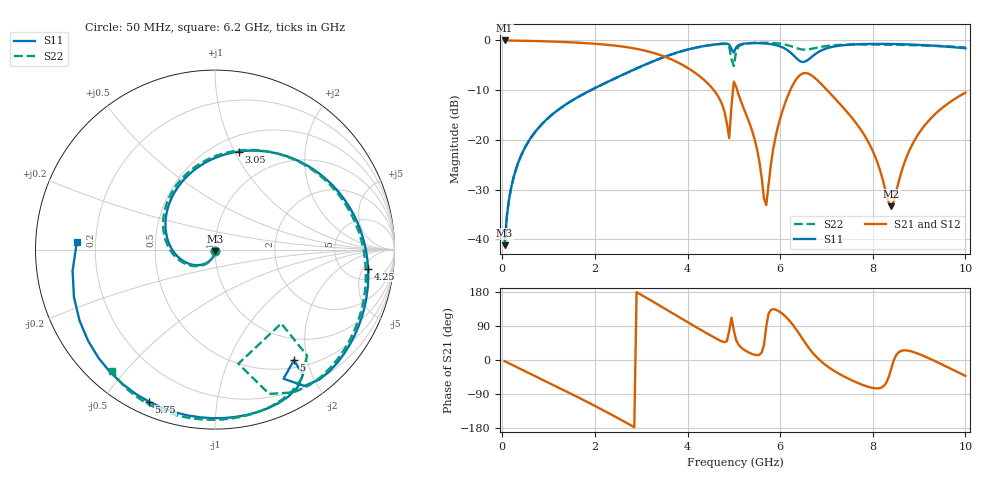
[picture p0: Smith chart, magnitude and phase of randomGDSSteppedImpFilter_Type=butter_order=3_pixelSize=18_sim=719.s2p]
! freq	dB(S11)	phase(S11)	dB(S12)	phase(S12)
!  dB(S21)	phase(S21)	dB(S22)	phase(S22)
!S-par simulation data
#  GHz  S  DB  R 50
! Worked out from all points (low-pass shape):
!   200 points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, 50 MHz to 10 GHz, reference 50 ohm
!   highest |S21| = 0.00 dB at 50 MHz (marker M1); lowest = -33.4 dB at 8.4 GHz (marker M2)
!   |S21| within 3 dB of the highest: start of sweep to 3.43 GHz
!   lowest |S11| = -41.2 dB at 50 MHz (marker M3), VSWR 1.02, Z = 50 - j0.871 ohm
!   |S11| at or under -10 dB: start of sweep to 1.912 GHz
!   |S22| runs from -41.4 to -0.5 dB; largest |S21 - S12| = 0
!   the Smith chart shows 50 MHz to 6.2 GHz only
!   S11 on the Smith chart (normalised r, x): 50 MHz: 1.00, -0.02; 3.05 GHz: 0.65, +1.04; 4.25 GHz: 8, -6; 5 GHz: 0.62, -1.78; 5.75 GHz: 0.06, -0.65; 6.2 GHz: 0.13, +0.03
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0.05  -41.19 -92.4  -0.00 -3.0  -0.00 -3.0  -41.39 -90.1
0.2  -29.26 -102.1  -0.03 -12.0  -0.03 -12.0  -29.25 -101.4
0.5  -21.38 -121.3  -0.07 -29.8  -0.07 -29.8  -21.38 -119.2
1.75  -10.79 160.9  -0.51 -105.4  -0.51 -105.4  -10.81 166.3
2.45  -7.56 116.3  -1.06 -150.3  -1.06 -150.3  -7.57 121.0
3.05  -5.00 76.5  -1.99 168.6  -1.99 168.6  -5.03 78.5
3.4  -3.65 52.3  -2.91 143.5  -2.91 143.5  -3.68 52.5
4.25  -1.31 -7.1  -7.12 82.1  -7.12 82.1  -1.33 -11.5
4.9  -0.83 -56.7  -19.63 77.0  -19.63 77.0  -1.32 -69.4
5  -2.42 -54.5  -8.28 77.8  -8.28 77.8  -5.15 -48.1
5.05  -1.39 -54.9  -9.32 52.3  -9.32 52.3  -2.14 -49.0
5.45  -0.54 -86.9  -19.92 13.7  -19.92 13.7  -0.49 -84.2
5.65  -0.60 -103.8  -31.77 39.2  -31.77 39.2  -0.45 -97.0
5.75  -0.69 -113.5  -29.00 122.6  -29.00 122.6  -0.47 -103.2
6.2  -2.26 177.0  -10.39 103.9  -10.39 103.9  -1.05 -130.4
6.45  -4.26 93.0  -6.82 61.9  -6.82 61.9  -1.78 -141.0
6.7  -3.16 3.6  -7.17 19.4  -7.17 19.4  -1.64 -149.1
7.25  -1.09 -76.7  -12.36 -34.8  -12.36 -34.8  -0.93 180.0
8.35  -0.71 -138.6  -32.78 -42.8  -32.78 -42.8  -0.86 100.8
8.4  -0.71 -140.8  -33.35 -21.9  -33.35 -21.9  -0.87 96.6
9.25  -1.02 -178.3  -15.71 2.5  -15.71 2.5  -1.05 23.9
10  -1.58 145.1  -10.51 -41.9  -10.51 -41.9  -1.41 -34.6
